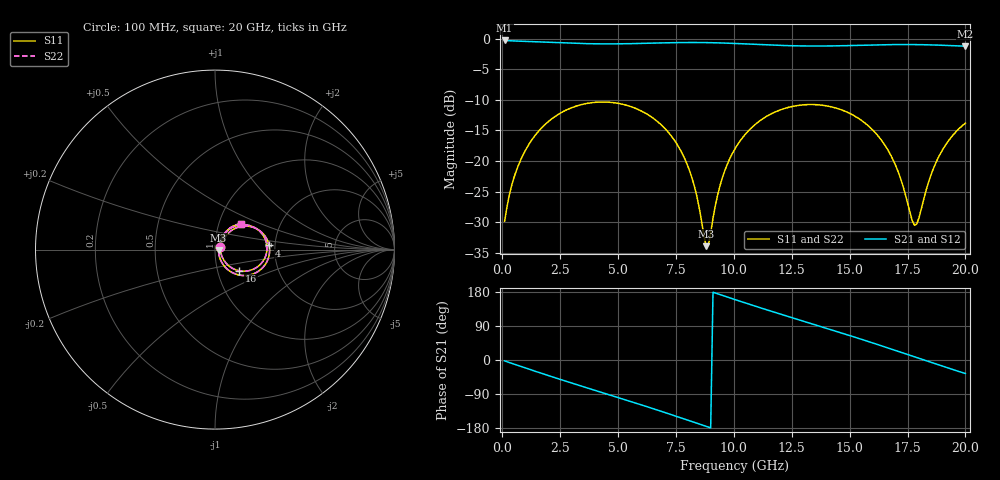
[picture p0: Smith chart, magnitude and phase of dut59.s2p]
! Touchstone file exported from HFSS 2026.1.0
!  File:  C:/ffzhzh/LocalFiles/Ansys_Project_Files/temp_train_TSV_RDL_59_1782968061_45308.aedt
!  Generated:  01:06:03 PM Jul  2, 2026
!  Design:  TSV_RDL
!  Project:  temp_train_TSV_RDL_59_1782968061_45308
! Variables:
!  h_bsmrdl = 3.28um
!  h_ox = 20um
!  h_rdl = 5um
!  h_sub = 51.6um
!  h_tmrdl = 3.58um
!  h_tsv = 51.6um
!  h_via = 3um
!  l_bsmrdl = 831.79um
!  l_sub = 7023.08um
!  l_tmrdl = 995.86um
!  m_sub = 200um
!  pitch = 36.03um
!  r_tsv = 12.33um
!  s_tmrdl = 10um
!  w_bsmrdl = 23.78um
!  w_sub = 500um
!  w_tmrdl = 24.31um
!  x_tsv_center1 = 1008.015um
!  x_tsv_center2 = 1863.585um
!  x_tsv_center3 = 2883.755um
!  x_tsv_center4 = 3739.325um
!  x_tsv_center5 = 4759.495um
!  x_tsv_center6 = 5615.065um
# GHz S MA R 50.000000
! Terminal data exported
! Port[1] = TM_RDL1_1_T1
! Port[2] = TM_RDL5_1_T1
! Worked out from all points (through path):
!   200 points, 100 MHz to 20 GHz, reference 50 ohm
!   highest |S21| = -0.25 dB at 100 MHz (marker M1); lowest = -1.2 dB at 20 GHz (marker M2)
!   group delay of S21, straight-line fit = 54.7 ps
!   lowest |S11| = -34.0 dB at 8.8 GHz (marker M3), VSWR 1.04, Z = 52 - j0.47 ohm
!   |S11| at or under -10 dB: start of sweep to end of sweep
!   |S22| runs from -33.9 to -10.3 dB; largest |S21 - S12| = 1.6e-14
!   S11 on the Smith chart (normalised r, x): 100 MHz: 1.06, +0.03; 4 GHz: 1.86, +0.09; 16 GHz: 1.27, -0.31; 20 GHz: 1.27, +0.38
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0.1  0.03208 25.8  0.9716 -2.3  0.9716 -2.3  0.03208 25.8
! Gamma 0 0 0 0
! Port Impedance 50 0 50 0
0.5  0.07262 50.0  0.9626 -10.8  0.9626 -10.8  0.07262 50.0
1.2  0.1417 49.1  0.9516 -25.2  0.9516 -25.2  0.1417 49.1
2.2  0.2262 35.2  0.9346 -45.3  0.9346 -45.3  0.2262 35.2
3.5  0.2921 13.1  0.916 -70.5  0.916 -70.5  0.2921 13.1
4  0.3023 4.3  0.9122 -80.0  0.9122 -80.0  0.3023 4.4
5.4  0.2849 -20.3  0.9138 -106.7  0.9138 -106.7  0.2849 -20.3
6.8  0.2029 -44.9  0.927 -134.1  0.927 -134.1  0.2028 -44.9
8  0.09217 -61.6  0.9349 -158.5  0.9349 -158.5  0.09214 -61.6
8.4  0.05163 -59.6  0.9349 -166.7  0.9349 -166.7  0.0516 -59.5
8.8  0.02005 -13.0  0.9332 -175.0  0.9332 -175.0  0.02007 -12.9
8.9  0.02046 15.9  0.9325 -177.0  0.9325 -177.0  0.02051 16.0
9.5  0.07248 60.9  0.9263 170.6  0.9263 170.6  0.07253 60.9
10.1  0.1305 56.3  0.9172 158.5  0.9172 158.5  0.1306 56.4
11.8  0.2529 29.0  0.888 125.2  0.888 125.2  0.253 29.0
13.4  0.2901 1.7  0.8746 95.0  0.8746 95.0  0.2901 1.7
14.7  0.2602 -20.3  0.8796 70.4  0.8796 70.4  0.2602 -20.3
16  0.1793 -41.2  0.8923 45.0  0.8923 45.0  0.1793 -41.2
16.7  0.1187 -49.5  0.8978 30.9  0.8978 30.9  0.1187 -49.6
17.8  0.02972 -1.3  0.8989 8.4  0.8989 8.4  0.02945 -1.5
18.8  0.1037 59.0  0.8901 -11.9  0.8901 -11.9  0.1035 59.3
20  0.2044 44.9  0.872 -35.8  0.872 -35.8  0.2042 45.1
